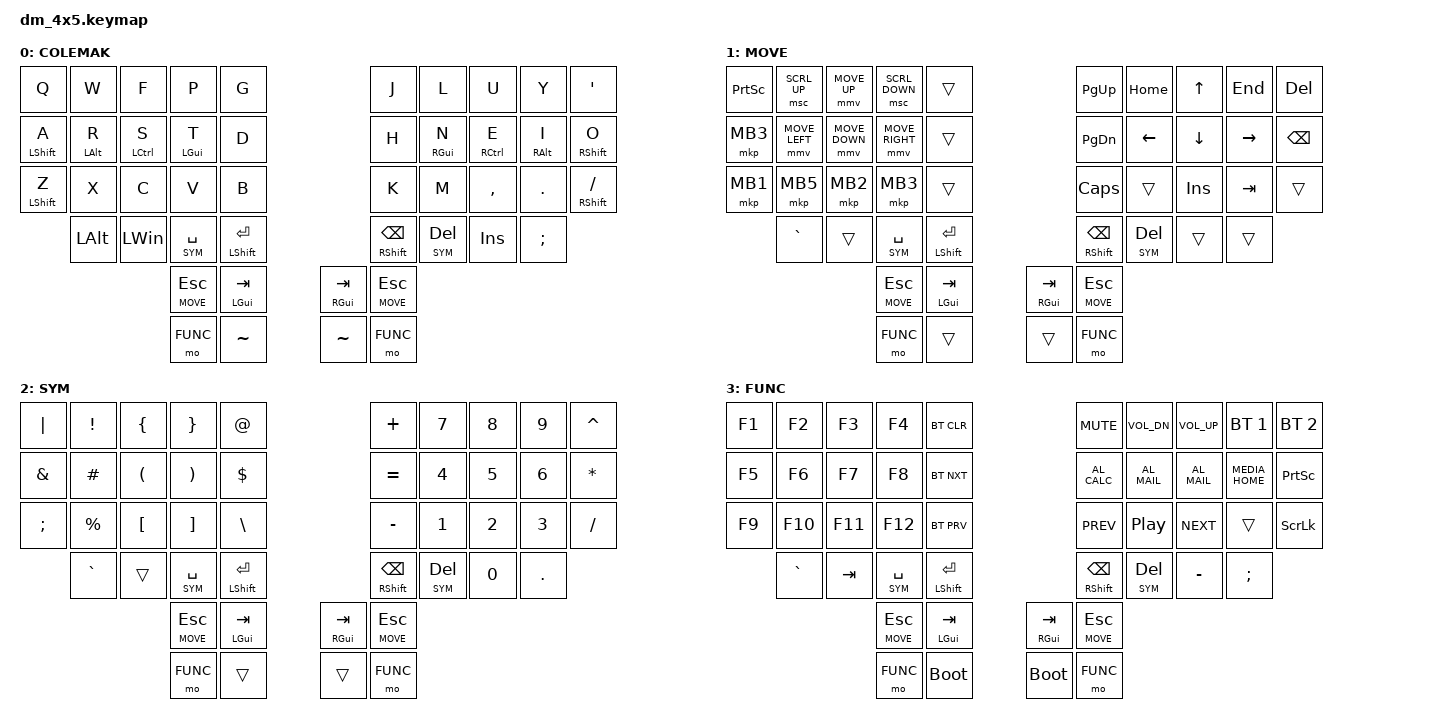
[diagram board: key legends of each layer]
/*
 * Copyright (c) 2020 The ZMK Contributors
 *
 * SPDX-License-Identifier: MIT
 *
 * A multi layered, COLEMAK based keymap, for handwired Dactyl-Manuform keyboard, without bells and whistles
 * No OLED displays, backlight/per-key LEDs, fancy encoders etc.
 * Heavily inspired by Extend layer by DreymaR https://dreymar.colemak.org/ , and uses home row mods https://precondition.github.io/home-row-mods.
 *
 */

#include <behaviors.dtsi>
#include <dt-bindings/zmk/keys.h>
#include <dt-bindings/zmk/bt.h>
#include <dt-bindings/zmk/outputs.h>
#include <dt-bindings/zmk/ext_power.h>
#include <dt-bindings/zmk/pointing.h>

#define BASE    0
#define MOVE    1
#define SYM     2
#define FUNC    3

&lt {
    flavor = "balanced";
};

&mt {
    flavor = "balanced";
    quick-tap-ms = <150>;
};

/ {
	keymap {
		compatible = "zmk,keymap";
/* BASE (COLEMAK)
 * note the usage of modifiers on the home row
 * ,----------------------------------,                                           ,----------------------------------,
 * |   q  |   w  |   f  |   p  |   g  |                                           |   j  |   l  |   u  |   y  |   '  |
 * |------+------+------+------+------|                                           |-------------+------+------+------|
 * |   a  |   r  |   s  |   t  |   d  |                                           |   h  |   n  |   e  |   i  |   o  |
 * | shft |  alt | ctrl |  gui |      |                                           |      | gui  | ctrl |  alt | shft |
 * |------+------+------+------+------|                                           |------|------+------+------+------+
 * |   z  |   x  |   c  |   v  |   b  |                                           |   k  |   m  |   ,  |   .  |   /  |
 * | shft |      |      |      |      |                                           |      |      |      |      | shft |
 * '------+------+------+-------------'                                           '-------------+------+------+------+
 *               |  alt | lwin |                                                         |insert|   ;  |
 *               '------+------'-------------,                             ,-------------'------+------'
 *                             | space| enter|                             |bckspc| del  |
 *                             | _sym | shift|                             |shift | _sym |
 *                             '------+------'                             '------+------'
 *                                           '------+------' '------+------'
 *                                           | esc  | tab  | | tab  | esc  |
 *                                           | _move| gui  | | gui  |_move |
 *                                           '------+------' '------+------'
 *                                           | _fn  |  ~   | |  ~   |  _fn |
 *                                           '------+------' '------+------'
 */
		BASE {
			display-name = "COLEMAK";

			bindings = <   
&kp        Q  &kp      W  &kp       F      &kp P &kp G                      &kp J       &kp L       &kp U      &kp Y   &kp APOS     
&mt LSHIFT A  &mt LALT R  &mt LCTRL S &mt LGUI T &kp D                      &kp H  &mt RGUI N &mt RCTRL E &mt RALT I   &mt RSHIFT O  
&mt LSHIFT Z  &kp      X  &kp       C      &kp V &kp B                      &kp K       &kp M &kp COMMA       &kp DOT  &mt RSHIFT FSLH
        &kp LALT &kp LWIN  &lt SYM SPACE &mt LSHIFT ENTER                &mt RSHIFT BSPC  &lt SYM DEL      &kp INS &kp SEMI
                      &lt MOVE ESC &mt LGUI TAB           &mt RGUI TAB &lt MOVE ESC 
                      &mo FUNC      &kp TILDE              &kp TILDE    &mo FUNC
			>;
		};

/* MOVE a movement layer inspired by Dreymar's bag of keyboard tricks (from Colemak forum), sadly mouse movements aren't in ZMK yet
 * ,----------------------------------,                                           ,----------------------------------,
 * | PScr | WhUP | MsUP | WhDN | WhUP |                                           |   ⤒  | Home |   ↑  | End  | Del  |
 * |------+------+------+------+------|                                           |-------------+------+------+------|
 * | BTN3 |MsLEFT| MsDN |MsRIGHT| GUI |                                           |   ⤓  |   ←  |   ↓  |   →  | Bsp  |
 * |------+------+------+------+------|                                           |------|------+------+------+------|
 * | BTN1 | BTN5 | BTN2 |  BTN3| WhDN |                                           | Caps |      |Insert| Tab  |      |
 * '------+------+------+-------------,                                           ,-------------+------+------+------'
 *               |   `  |      |                                                         |      |      |
 *               '------+------'-------------'                             '-------------'------+------'
 *                             | Space| Enter|                             |BckSpc| Del  |
 *                             | _SYM | Shift|                             |Shift | _SYM |
 *                             '------+------'                             '------+------'
 *                                           '------+------' '------+------'
 *                                           | Esc  | Tab  | |  Tab |  Esc |
 *                                           | _MOVE|      | |      |_MOVE |
 *                                           '------+------' '------+------'
 *                                           | _FN  |  ~   | |   ~  |  _FN |
 *                                           '------+------' '------+------'
 */

		MOVE {
			display-name = "MOVE";

			bindings = <
&kp PSCRN &msc SCRL_UP &mmv MOVE_UP &msc SCRL_DOWN &trans                                &kp PG_UP &kp HOME &kp UP &kp END &kp DEL
&mkp MB3  &mmv MOVE_LEFT &mmv MOVE_DOWN &mmv MOVE_RIGHT &trans                           &kp PG_DN &kp LEFT &kp DOWN &kp RIGHT &kp BSPC
&mkp MB1  &mkp MB5 &mkp MB2 &mkp MB3 &trans                                     &kp CAPS &trans &kp INS &kp TAB &trans
        &kp GRAVE &trans &lt SYM SPACE &mt LSHIFT ENTER                         &mt RSHIFT BSPC  &lt SYM DEL &trans &trans
                    &lt MOVE ESC &mt LGUI TAB                                   &mt RGUI TAB &lt MOVE ESC 
					&mo FUNC  &trans                                            &trans &mo FUNC
			>;

		};


/* SYM - a symbol layer, uses pairs of various brackets on left half and NumPad numbers on right half
 * ,----------------------------------,                                    ,----------------------------------,
 * |   |  |   !  |   {  |   }  |   @  |                                    |   +  |   7  |   8  |   9  |   ^  |
 * |------+------+------+------+------|                                    |-------------+------+------+------|
 * |   &  |   #  |   (  |   )  |   $  |                                    |   =  |   4  |   5  |   6  |   *  |
 * |------+------+------+------+------|                                    |------|------+------+------+------|
 * |   ;  |   %  |   [  |   ]  |   \  |                                    |   -  |   1  |   2  |   3  |   /  |
 * '------+------+------+-------------,                                    ,-------------+------+------+------'
 *               |   `  |      |                                                         |   0  |   .  |
 *               '------+------'-------------'                             '-------------'------+------'
 *                             | Space| Enter|                             |BckSpc| Del  |
 *                             | _SYM | Shift|                             |Shift | _SYM |
 *                             '------+------'                             '------+------'
 *                                           '------+------' '------+------'
 *                                           | Esc  | Tab  | |  Tab |  Esc |
 *                                           | _MOVE|      | |      |_MOVE |
 *                                           '------+------' '------+------'
 *                                           | _FN  |  ~   | |   ~  |  _FN |
 *                                           '------+------' '------+------'
 */
        SYM {
			display-name = "SYM";
			bindings = <
&kp PIPE &kp EXCL &kp LBRC &kp RBRC &kp AT                              &kp PLUS &kp N7 &kp N8 &kp N9 &kp CARET
&kp AMPS &kp HASH &kp LPAR &kp RPAR &kp DLLR                            &kp EQUAL &kp N4 &kp N5 &kp N6 &kp STAR
&kp SEMI &kp PRCNT &kp LBKT &kp RBKT &kp BSLH                           &kp MINUS &kp N1 &kp N2 &kp N3 &kp FSLH
        &kp GRAVE &trans   &lt SYM SPACE &mt LSHIFT ENTER     &mt RSHIFT BSPC  &lt SYM DEL &kp N0 &kp DOT
                      &lt MOVE ESC &mt LGUI TAB               &mt RGUI TAB &lt MOVE ESC
					  &mo FUNC  &trans                        &trans &mo FUNC
			>;
		};

/* FUNC - Function keys and assorted media controls
 * ,----------------------------------,                                    ,----------------------------------,
 * |  F1  |  F2  |  F3  |   F4 |BT clr|                                    |   🔇 |  🔉  |   🔊 |      |      |
 * |------+------+------+------+------|                                    |-------------+------+------+------|
 * |   F5 |  F6  |  F7  |   F8 |BT Nxt|                                    |   🖩  |  📧  |  🖳   |  🏡  |Pr.Scr|
 * |------+------+------+------+------|                                    |------|------+------+------+------|
 * |   F9 |   F10| F11  |  F12 |BT Prv|                                    |  ⏮️  |  ⏯️  |  ⏭️  |      |ScrlLk|
 * '------+------+------+-------------,                                    ,-------------+------+------+------'
 *               |   `  | Tab  |                                                         |   -  |   ;  |
 *               '------+------'-------------'                             '-------------'------+------'
 *                             | Space| Enter|                             |BckSpc| Del  |
 *                             | _SYM | Shift|                             |Shift | _SYM |
 *                             '------+------'                             '------+------'
 *                                           '------+------' '------+------'
 *                                           | Esc  | Tab  | |  Tab |  Esc |
 *                                           | _MOVE|      | |      |_MOVE |
 *                                           '------+------' '------+------'
 *                                           | _FN  |reset | | reset|  _FN |
 *                                           '------+------' '------+------'
 *
 */

		FUNC {
			display-name = "FUNC";
			bindings = <
&kp F1 &kp F2  &kp F3  &kp F4  &bt BT_CLR                             &kp C_MUTE    &kp C_VOL_DN  &kp C_VOL_UP  &bt BT_SEL 1 &bt BT_SEL 2
&kp F5 &kp F6  &kp F7  &kp F8  &bt BT_NXT                             &kp C_AL_CALC &kp C_AL_MAIL &kp C_AL_MAIL &kp C_MEDIA_HOME &kp PSCRN
&kp F9 &kp F10 &kp F11 &kp F12 &bt BT_PRV                             &kp C_PREV    &kp C_PP      &kp C_NEXT    &trans           &kp SLCK
       &kp GRAVE &kp TAB 	&lt SYM SPACE &mt LSHIFT ENTER    &mt RSHIFT BSPC  &lt SYM DEL 	&kp MINUS &kp SEMI
	                &lt MOVE ESC &mt LGUI TAB         &mt RGUI TAB &lt MOVE ESC
					&mo FUNC &bootloader              &bootloader &mo FUNC
			>;
		};

	};
};
